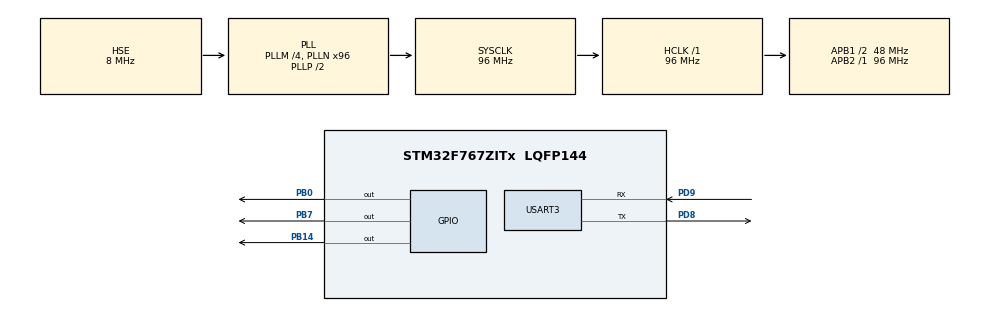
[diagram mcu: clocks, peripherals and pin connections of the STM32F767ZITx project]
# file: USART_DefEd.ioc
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Dma.Request0=USART3_TX
Dma.Request1=USART3_RX
Dma.USART3_RX.1.Direction=DMA_PERIPH_TO_MEMORY
Dma.USART3_RX.1.FIFOMode=DMA_FIFOMODE_DISABLE
Dma.USART3_RX.1.Instance=DMA1_Stream1
Dma.USART3_RX.1.MemDataAlignment=DMA_MDATAALIGN_BYTE
Dma.USART3_RX.1.MemInc=DMA_MINC_ENABLE
Dma.USART3_RX.1.Mode=DMA_CIRCULAR
Dma.USART3_RX.1.PeriphDataAlignment=DMA_PDATAALIGN_BYTE
Dma.USART3_RX.1.PeriphInc=DMA_PINC_DISABLE
Dma.USART3_RX.1.Priority=DMA_PRIORITY_LOW
Dma.USART3_TX.0.Direction=DMA_MEMORY_TO_PERIPH
Dma.USART3_TX.0.FIFOMode=DMA_FIFOMODE_DISABLE
Dma.USART3_TX.0.Instance=DMA1_Stream3
Dma.USART3_TX.0.MemDataAlignment=DMA_MDATAALIGN_BYTE
Dma.USART3_TX.0.MemInc=DMA_MINC_ENABLE
Dma.USART3_TX.0.Mode=DMA_NORMAL
Dma.USART3_TX.0.PeriphDataAlignment=DMA_PDATAALIGN_BYTE
Dma.USART3_TX.0.PeriphInc=DMA_PINC_DISABLE
Dma.USART3_TX.0.Priority=DMA_PRIORITY_LOW
Mcu.Family=STM32F7
Mcu.Name=STM32F767ZITx
Mcu.Package=LQFP144
NVIC.DMA1_Stream1_IRQn=true\:0\:0\:false\:false\:true\:false\:true
NVIC.DMA1_Stream3_IRQn=true\:0\:0\:false\:false\:true\:false\:true
NVIC.PriorityGroup=NVIC_PRIORITYGROUP_4
NVIC.USART3_IRQn=true\:0\:0\:false\:false\:true\:true\:true
PB0.Signal=GPIO_Output
PB14.Signal=GPIO_Output
PB7.Signal=GPIO_Output
PD8.Mode=Asynchronous
PD8.Signal=USART3_TX
PD9.Mode=Asynchronous
PD9.Signal=USART3_RX
PH0/OSC_IN.Mode=HSE-External-Oscillator
PH0/OSC_IN.Signal=RCC_OSC_IN
PH1/OSC_OUT.Mode=HSE-External-Oscillator
PH1/OSC_OUT.Signal=RCC_OSC_OUT
ProjectManager.HeapSize=0x200
ProjectManager.StackSize=0x400
ProjectManager.TargetToolchain=STM32CubeIDE
RCC.48MHZClocksFreq_Value=24000000
RCC.AHBFreq_Value=96000000
RCC.APB1CLKDivider=RCC_HCLK_DIV2
RCC.APB1Freq_Value=48000000
RCC.APB1TimFreq_Value=96000000
RCC.APB2Freq_Value=96000000
RCC.APB2TimFreq_Value=96000000
RCC.CortexFreq_Value=96000000
RCC.HCLKFreq_Value=96000000
RCC.HSE_VALUE=8000000
RCC.HSI_VALUE=16000000
RCC.LSE_VALUE=32768
RCC.PLLM=4
RCC.PLLMUL=RCC_PLL_MUL9
RCC.PLLN=96
RCC.PLLQ=4
RCC.PLLSourceVirtual=RCC_PLLSOURCE_HSE
RCC.PRESCALERUSB=RCC_USBCLKSOURCE_PLL_DIV1_5
RCC.SYSCLKFreq_VALUE=96000000
RCC.SYSCLKSource=RCC_SYSCLKSOURCE_PLLCLK
RCC.SYSCLKSourceVirtual=RCC_SYSCLKSOURCE_PLLCLK
RCC.USBFreq_Value=48000000
RCC.VCOOutputFreq_Value=192000000
USART3.VirtualMode-Asynchronous=VM_ASYNC
board=NUCLEO-F767ZI

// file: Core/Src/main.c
/* USER CODE BEGIN Header */
/**
  ******************************************************************************
  * @file           : main.c
  * @brief          : Main program body
  ******************************************************************************
  * @attention
  *
  * <h2><center>&copy; Copyright (c) 2020 STMicroelectronics.
  * All rights reserved.</center></h2>
  *
  * This software component is licensed by ST under BSD 3-Clause license,
  * the "License"; You may not use this file except in compliance with the
  * License. You may obtain a copy of the License at:
  *                        opensource.org/licenses/BSD-3-Clause
  *
  ******************************************************************************
  */
/* USER CODE END Header */

#include "main.h"

/* USER CODE BEGIN PD */
#define UART_SIZE	8
/* USER CODE END PD */

UART_HandleTypeDef huart3;
DMA_HandleTypeDef hdma_usart3_tx;
DMA_HandleTypeDef hdma_usart3_rx;

/* USER CODE BEGIN PV */
uint8_t  data[]="aca  va la info \n\r";
uint8_t  UART_RX_DATA[UART_SIZE];
uint16_t  size = sizeof(data) / sizeof(data[0]);
 int cycles=0;
/*
 *  https://www.youtube.com/watch?v=ic7hCrDopOQ
 * */

/* USER CODE END PV */

void SystemClock_Config(void);
static void MX_GPIO_Init(void);
static void MX_DMA_Init(void);
static void MX_USART3_UART_Init(void);

/* USER CODE BEGIN 0 */

//void HAL_UART_RxCpltCallback(UART_HandleTypeDef *huart)
//{
	//  HAL_UART_Receive_DMA(&huart3, UART_RX_DATA, UART_SIZE);
//}

/* USER CODE END 0 */

int main(void)
{

  /* MCU Configuration--------------------------------------------------------*/

  /* Reset of all peripherals, Initializes the Flash interface and the Systick. */
  HAL_Init();

  /* Configure the system clock */
  SystemClock_Config();

  /* Initialize all configured peripherals */
  MX_GPIO_Init();
  MX_DMA_Init();
  MX_USART3_UART_Init();
  /* USER CODE BEGIN 2 */
//  HAL_UART_Receive_IT(&huart3, UART_RX_DATA ,UART_SIZE);
  HAL_UART_Transmit_DMA(&huart3, data, size);
  static int tickstart;
  tickstart= HAL_GetTick();
  static int miliseg=5000;
  /* USER CODE END 2 */

  /* Infinite loop */
  while (1)
  {

    /* USER CODE BEGIN 3 */
	//  HAL_UART_Receive(&huart3, RX_data, size, 1000);

	  HAL_Delay(250);
	  HAL_GPIO_TogglePin(GPIOB, GPIO_PIN_7);
	  HAL_GPIO_TogglePin(GPIOB, GPIO_PIN_14);
	  HAL_GPIO_TogglePin(GPIOB, GPIO_PIN_0);
	  if(HAL_GetTick()-tickstart>miliseg)
	  {
	  if(HAL_UART_Transmit(&huart3, data, size, 1000)!=HAL_OK)
		  {
		  Error_Handler();
		  }
	  tickstart=HAL_GetTick();
	  cycles=0;
	  }

  }
  /* USER CODE END 3 */
}

void SystemClock_Config(void)
{
  RCC_OscInitTypeDef RCC_OscInitStruct = {0};
  RCC_ClkInitTypeDef RCC_ClkInitStruct = {0};
  RCC_PeriphCLKInitTypeDef PeriphClkInitStruct = {0};

  /** Configure the main internal regulator output voltage
  */
  __HAL_RCC_PWR_CLK_ENABLE();
  __HAL_PWR_VOLTAGESCALING_CONFIG(PWR_REGULATOR_VOLTAGE_SCALE3);
  /** Initializes the CPU, AHB and APB busses clocks
  */
  RCC_OscInitStruct.OscillatorType = RCC_OSCILLATORTYPE_HSE;
  RCC_OscInitStruct.HSEState = RCC_HSE_ON;
  RCC_OscInitStruct.PLL.PLLState = RCC_PLL_ON;
  RCC_OscInitStruct.PLL.PLLSource = RCC_PLLSOURCE_HSE;
  RCC_OscInitStruct.PLL.PLLM = 4;
  RCC_OscInitStruct.PLL.PLLN = 96;
  RCC_OscInitStruct.PLL.PLLP = RCC_PLLP_DIV2;
  RCC_OscInitStruct.PLL.PLLQ = 4;
  if (HAL_RCC_OscConfig(&RCC_OscInitStruct) != HAL_OK)
  {
    Error_Handler();
  }
  /** Activate the Over-Drive mode
  */
  if (HAL_PWREx_EnableOverDrive() != HAL_OK)
  {
    Error_Handler();
  }
  /** Initializes the CPU, AHB and APB busses clocks
  */
  RCC_ClkInitStruct.ClockType = RCC_CLOCKTYPE_HCLK|RCC_CLOCKTYPE_SYSCLK
                              |RCC_CLOCKTYPE_PCLK1|RCC_CLOCKTYPE_PCLK2;
  RCC_ClkInitStruct.SYSCLKSource = RCC_SYSCLKSOURCE_PLLCLK;
  RCC_ClkInitStruct.AHBCLKDivider = RCC_SYSCLK_DIV1;
  RCC_ClkInitStruct.APB1CLKDivider = RCC_HCLK_DIV2;
  RCC_ClkInitStruct.APB2CLKDivider = RCC_HCLK_DIV1;

  if (HAL_RCC_ClockConfig(&RCC_ClkInitStruct, FLASH_LATENCY_3) != HAL_OK)
  {
    Error_Handler();
  }
  PeriphClkInitStruct.PeriphClockSelection = RCC_PERIPHCLK_USART3;
  PeriphClkInitStruct.Usart3ClockSelection = RCC_USART3CLKSOURCE_PCLK1;
  if (HAL_RCCEx_PeriphCLKConfig(&PeriphClkInitStruct) != HAL_OK)
  {
    Error_Handler();
  }
}

static void MX_USART3_UART_Init(void)
{

  huart3.Instance = USART3;
  huart3.Init.BaudRate = 115200;
  huart3.Init.WordLength = UART_WORDLENGTH_8B;
  huart3.Init.StopBits = UART_STOPBITS_1;
  huart3.Init.Parity = UART_PARITY_NONE;
  huart3.Init.Mode = UART_MODE_TX_RX;
  huart3.Init.HwFlowCtl = UART_HWCONTROL_NONE;
  huart3.Init.OverSampling = UART_OVERSAMPLING_16;
  huart3.Init.OneBitSampling = UART_ONE_BIT_SAMPLE_DISABLE;
  huart3.AdvancedInit.AdvFeatureInit = UART_ADVFEATURE_NO_INIT;
  if (HAL_UART_Init(&huart3) != HAL_OK)
  {
    Error_Handler();
  }

}

static void MX_DMA_Init(void)
{

  /* DMA controller clock enable */
  __HAL_RCC_DMA1_CLK_ENABLE();

  /* DMA interrupt init */
  /* DMA1_Stream1_IRQn interrupt configuration */
  HAL_NVIC_SetPriority(DMA1_Stream1_IRQn, 0, 0);
  HAL_NVIC_EnableIRQ(DMA1_Stream1_IRQn);
  /* DMA1_Stream3_IRQn interrupt configuration */
  HAL_NVIC_SetPriority(DMA1_Stream3_IRQn, 0, 0);
  HAL_NVIC_EnableIRQ(DMA1_Stream3_IRQn);

}

static void MX_GPIO_Init(void)
{
  GPIO_InitTypeDef GPIO_InitStruct = {0};

  /* GPIO Ports Clock Enable */
  __HAL_RCC_GPIOH_CLK_ENABLE();
  __HAL_RCC_GPIOB_CLK_ENABLE();
  __HAL_RCC_GPIOD_CLK_ENABLE();

  /*Configure GPIO pin Output Level */
  HAL_GPIO_WritePin(GPIOB, GPIO_PIN_0|GPIO_PIN_14|GPIO_PIN_7, GPIO_PIN_RESET);

  /*Configure GPIO pins : PB0 PB14 PB7 */
  GPIO_InitStruct.Pin = GPIO_PIN_0|GPIO_PIN_14|GPIO_PIN_7;
  GPIO_InitStruct.Mode = GPIO_MODE_OUTPUT_PP;
  GPIO_InitStruct.Pull = GPIO_NOPULL;
  GPIO_InitStruct.Speed = GPIO_SPEED_FREQ_LOW;
  HAL_GPIO_Init(GPIOB, &GPIO_InitStruct);

}

void Error_Handler(void)
{
  /* USER CODE BEGIN Error_Handler_Debug */
  /* User can add his own implementation to report the HAL error return state */

	HAL_GPIO_WritePin(GPIOB, GPIO_PIN_14, GPIO_PIN_SET);

  /* USER CODE END Error_Handler_Debug */
}

/************************ (C) COPYRIGHT STMicroelectronics *****END OF FILE****/
